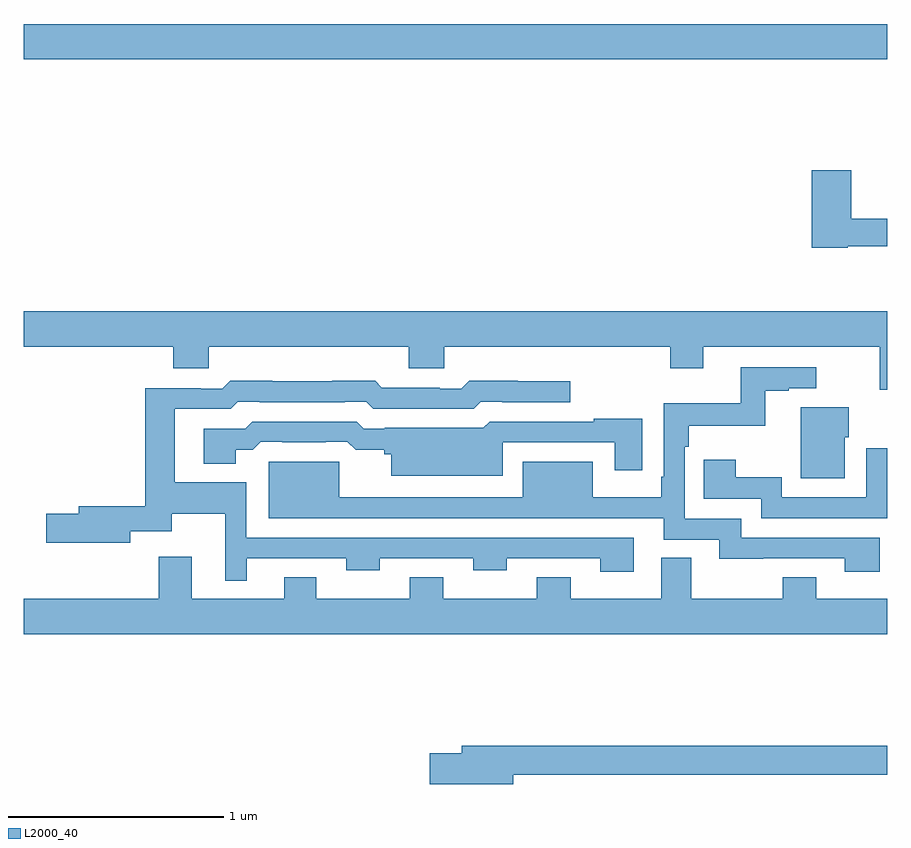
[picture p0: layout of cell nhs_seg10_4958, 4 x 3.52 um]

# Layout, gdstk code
import gdstk
lib = gdstk.Library(unit=1e-6, precision=1e-09)
def R(c, l, rs):  # rectangles x0, y0, x1, y1
    for r in rs: c.add(gdstk.rectangle(r[:2], r[2:], *l))
def P(c, l, *ps):  # polygons
    for p in ps: c.add(gdstk.Polygon(p, *l))
L2000_40 = (2000, 40)

nhs_seg10_4958 = lib.new_cell('nhs_seg10_4958')
R(nhs_seg10_4958, L2000_40, [(397,1316.3,401,1316.464)])
P(nhs_seg10_4958, L2000_40, [(400.818,1315.434),(401,1315.434),(401,1315.562),(400.835,1315.562),(400.835,1315.786),(400.652,1315.786),(400.652,1315.426),(400.818,1315.426)],
  [(401,1315.132),(397,1315.132),(397,1314.968),(397.691,1314.968),(397.691,1314.869),(397.856,1314.869),(397.856,1314.968),(398.783,1314.968),(398.783,1314.869),(398.948,1314.869),(398.948,1314.968),(399.995,1314.968),(399.995,1314.869),(400.147,1314.869),(400.147,1314.968),(400.966,1314.968),(400.966,1314.768),(401,1314.768)],
  [(400.966,1314.084),(400.324,1314.084),(400.324,1314.171),(400.062,1314.171),(400.062,1314.506),(400.082,1314.506),(400.082,1314.602),(400.435,1314.602),(400.435,1314.765),(400.545,1314.765),(400.545,1314.777),(400.672,1314.777),(400.672,1314.873),(400.322,1314.873),(400.322,1314.706),(399.966,1314.706),(399.966,1314.367),(399.954,1314.367),(399.954,1314.27),(399.637,1314.27),(399.637,1314.436),(399.311,1314.436),(399.311,1314.27),(398.461,1314.27),(398.461,1314.436),(398.135,1314.436),(398.135,1314.173),(398.357,1314.173),(398.357,1314.174),(399.965,1314.174),(399.965,1314.075),(400.223,1314.075),(400.223,1313.987),(400.427,1313.987),(400.427,1313.988),(400.805,1313.988),(400.805,1313.925),(400.966,1313.925)],
  [(398.032,1313.988),(398.494,1313.988),(398.494,1313.933),(398.649,1313.933),(398.649,1313.988),(399.082,1313.988),(399.082,1313.933),(399.237,1313.933),(399.237,1313.988),(399.67,1313.988),(399.67,1313.925),(399.826,1313.925),(399.826,1314.084),(398.031,1314.084),(398.031,1314.34),(397.699,1314.34),(397.699,1314.681),(397.959,1314.681),(397.992,1314.714),(398.092,1314.714),(398.092,1314.711),(398.486,1314.711),(398.486,1314.714),(398.586,1314.714),(398.619,1314.681),(399.084,1314.681),(399.117,1314.714),(399.217,1314.714),(399.217,1314.711),(399.532,1314.711),(399.532,1314.808),(399.288,1314.808),(399.288,1314.811),(399.064,1314.811),(399.027,1314.774),(398.927,1314.774),(398.927,1314.778),(398.659,1314.778),(398.627,1314.811),(398.428,1314.811),(398.428,1314.808),(398.15,1314.808),(398.15,1314.811),(397.955,1314.811),(397.919,1314.774),(397.82,1314.774),(397.82,1314.777),(397.562,1314.777),(397.562,1314.23),(397.253,1314.23),(397.253,1314.194),(397.104,1314.194),(397.104,1314.059),(397.492,1314.059),(397.492,1314.114),(397.684,1314.114),(397.684,1314.194),(397.934,1314.194),(397.934,1313.885),(398.032,1313.885)],
  [(400.804,1314.549),(400.822,1314.549),(400.822,1314.688),(400.601,1314.688),(400.601,1314.359),(400.804,1314.359)],
  [(399.219,1314.525),(399.737,1314.525),(399.737,1314.396),(399.865,1314.396),(399.865,1314.634),(399.641,1314.634),(399.641,1314.621),(399.158,1314.621),(399.129,1314.592),(398.671,1314.592),(398.671,1314.588),(398.575,1314.588),(398.542,1314.621),(398.058,1314.621),(398.025,1314.588),(397.833,1314.588),(397.833,1314.425),(397.981,1314.425),(397.981,1314.492),(398.061,1314.492),(398.097,1314.528),(398.197,1314.528),(398.197,1314.525),(398.399,1314.525),(398.399,1314.528),(398.499,1314.528),(398.537,1314.49),(398.67,1314.49),(398.67,1314.47),(398.702,1314.47),(398.702,1314.371),(399.219,1314.371)],
  [(401,1314.499),(400.904,1314.499),(400.904,1314.27),(400.512,1314.27),(400.512,1314.363),(400.299,1314.363),(400.299,1314.445),(400.151,1314.445),(400.151,1314.264),(400.416,1314.264),(400.416,1314.174),(401,1314.174)],
  [(401,1313.8),(400.671,1313.8),(400.671,1313.899),(400.516,1313.899),(400.516,1313.8),(400.093,1313.8),(400.093,1313.99),(399.953,1313.99),(399.953,1313.8),(399.534,1313.8),(399.534,1313.899),(399.376,1313.899),(399.376,1313.8),(398.943,1313.8),(398.943,1313.899),(398.788,1313.899),(398.788,1313.8),(398.355,1313.8),(398.355,1313.899),(398.207,1313.899),(398.207,1313.8),(397.777,1313.8),(397.777,1313.995),(397.625,1313.995),(397.625,1313.8),(397,1313.8),(397,1313.636),(401,1313.636)],
  [(399.268,1312.984),(401,1312.984),(401,1313.12),(399.029,1313.12),(399.029,1313.084),(398.88,1313.084),(398.88,1312.942),(399.268,1312.942)])

lib.write_gds('nhs_seg10_4958.gds')
